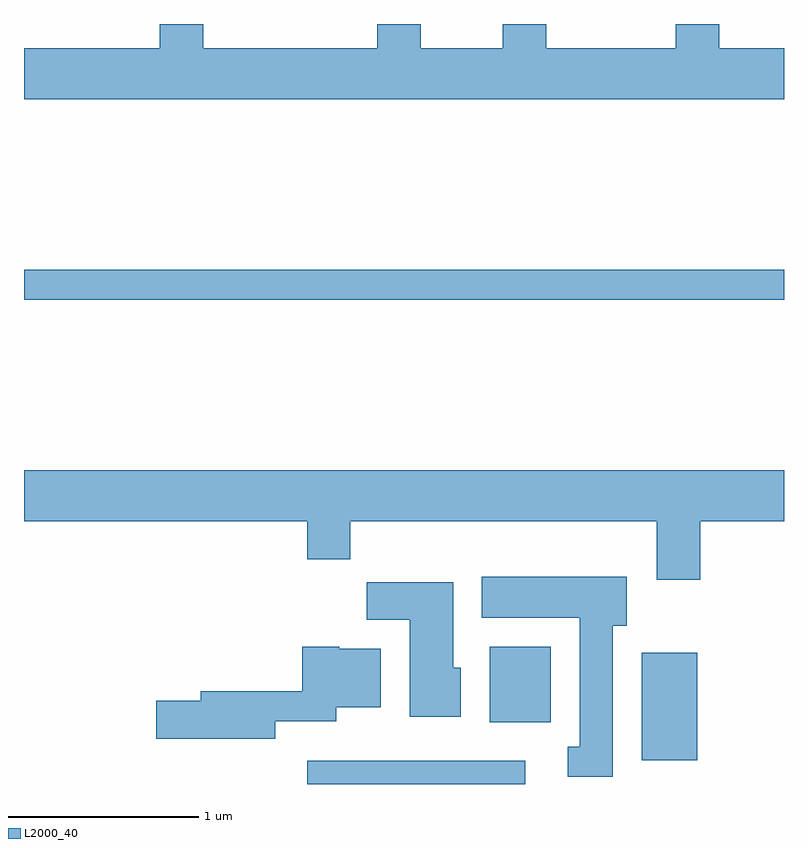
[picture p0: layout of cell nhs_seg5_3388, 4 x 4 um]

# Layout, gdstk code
import gdstk
lib = gdstk.Library(unit=1e-6, precision=1e-09)
def R(c, l, rs):  # rectangles x0, y0, x1, y1
    for r in rs: c.add(gdstk.rectangle(r[:2], r[2:], *l))
def P(c, l, *ps):  # polygons
    for p in ps: c.add(gdstk.Polygon(p, *l))
L2000_40 = (2000, 40)

nhs_seg5_3388 = lib.new_cell('nhs_seg5_3388')
R(nhs_seg5_3388, L2000_40, [(287.101,1462.072,288.249,1462.194), (288.861,1462.196,289.154,1462.764), (288.061,1462.396,288.384,1462.794), (285.611,1464.621,289.611,1464.779)])
P(nhs_seg5_3388, L2000_40, [(289.611,1465.944),(289.269,1465.944),(289.269,1466.072),(289.041,1466.072),(289.041,1465.944),(288.359,1465.944),(288.359,1466.072),(288.131,1466.072),(288.131,1465.944),(287.699,1465.944),(287.699,1466.072),(287.471,1466.072),(287.471,1465.944),(286.554,1465.944),(286.554,1466.072),(286.326,1466.072),(286.326,1465.944),(285.611,1465.944),(285.611,1465.676),(289.611,1465.676)],
  [(289.169,1463.456),(289.611,1463.456),(289.611,1463.724),(285.611,1463.724),(285.611,1463.456),(287.101,1463.456),(287.101,1463.256),(287.329,1463.256),(287.329,1463.456),(288.941,1463.456),(288.941,1463.146),(289.169,1463.146)],
  [(288.709,1462.906),(288.784,1462.906),(288.784,1463.164),(288.021,1463.164),(288.021,1462.946),(288.536,1462.946),(288.536,1462.269),(288.473,1462.269),(288.473,1462.111),(288.709,1462.111)],
  [(287.909,1462.684),(287.869,1462.684),(287.869,1463.134),(287.416,1463.134),(287.416,1462.936),(287.641,1462.936),(287.641,1462.426),(287.909,1462.426)],
  [(286.934,1462.401),(287.254,1462.401),(287.254,1462.476),(287.489,1462.476),(287.489,1462.784),(287.27,1462.784),(287.27,1462.794),(287.076,1462.794),(287.076,1462.559),(286.541,1462.559),(286.541,1462.509),(286.306,1462.509),(286.306,1462.311),(286.934,1462.311)])

lib.write_gds('nhs_seg5_3388.gds')
